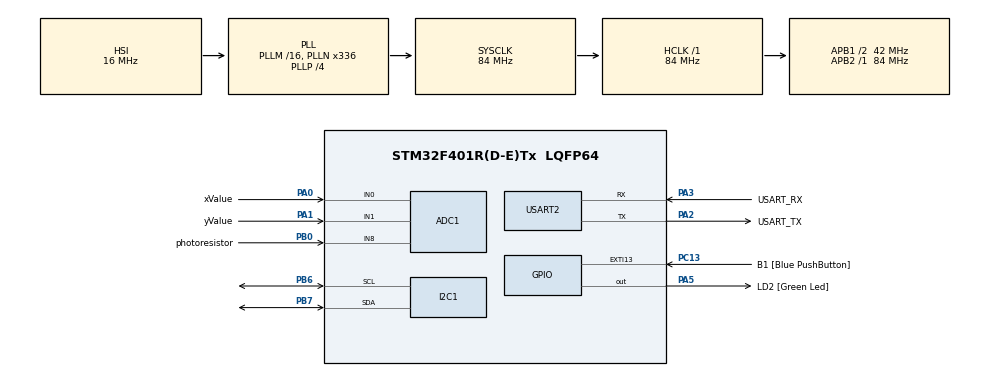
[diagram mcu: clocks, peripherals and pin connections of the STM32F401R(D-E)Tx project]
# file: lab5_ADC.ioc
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ADC1.Channel-1\#ChannelRegularConversion=ADC_CHANNEL_0
ADC1.Channel-2\#ChannelRegularConversion=ADC_CHANNEL_1
ADC1.Channel-3\#ChannelRegularConversion=ADC_CHANNEL_8
ADC1.ContinuousConvMode=ENABLE
ADC1.InjNumberOfConversion=0
ADC1.NbrOfConversion=3
ADC1.NbrOfConversionFlag=1
ADC1.Rank-1\#ChannelRegularConversion=1
ADC1.Rank-2\#ChannelRegularConversion=2
ADC1.Rank-3\#ChannelRegularConversion=3
ADC1.SamplingTime-1\#ChannelRegularConversion=ADC_SAMPLETIME_480CYCLES
ADC1.SamplingTime-2\#ChannelRegularConversion=ADC_SAMPLETIME_480CYCLES
ADC1.SamplingTime-3\#ChannelRegularConversion=ADC_SAMPLETIME_480CYCLES
ADC1.ScanConvMode=ENABLE
ADC1.master=1
Mcu.Family=STM32F4
Mcu.Name=STM32F401R(D-E)Tx
Mcu.Package=LQFP64
NVIC.ADC_IRQn=true\:0\:0\:false\:false\:true\:true\:true\:true
NVIC.PriorityGroup=NVIC_PRIORITYGROUP_0
NVIC.TIM2_IRQn=true\:0\:0\:false\:false\:true\:true\:true\:true
PA0-WKUP.GPIO_Label=xValue
PA0-WKUP.Signal=ADCx_IN0
PA1.GPIO_Label=yValue
PA1.Signal=ADCx_IN1
PA13.GPIO_Label=TMS
PA13.Mode=Serial_Wire
PA13.Signal=SYS_JTMS-SWDIO
PA14.GPIO_Label=TCK
PA14.Mode=Serial_Wire
PA14.Signal=SYS_JTCK-SWCLK
PA2.GPIO_Label=USART_TX
PA2.GPIO_Mode=GPIO_MODE_AF_PP
PA2.GPIO_PuPd=GPIO_NOPULL
PA2.GPIO_Speed=GPIO_SPEED_FREQ_LOW
PA2.Mode=Asynchronous
PA2.Signal=USART2_TX
PA3.GPIO_Label=USART_RX
PA3.GPIO_Mode=GPIO_MODE_AF_PP
PA3.GPIO_PuPd=GPIO_NOPULL
PA3.GPIO_Speed=GPIO_SPEED_FREQ_LOW
PA3.Mode=Asynchronous
PA3.Signal=USART2_RX
PA4.GPIO_Label=temperature
PA4.Signal=ADCx_IN4
PA5.GPIO_Label=LD2 [Green Led]
PA5.GPIO_Mode=GPIO_MODE_OUTPUT_PP
PA5.GPIO_PuPd=GPIO_NOPULL
PA5.GPIO_Speed=GPIO_SPEED_FREQ_LOW
PA5.Signal=GPIO_Output
PB0.GPIO_Label=photoresistor
PB0.Signal=ADCx_IN8
PB3.GPIO_Label=SWO
PB3.Signal=SYS_JTDO-SWO
PB6.Mode=I2C
PB6.Signal=I2C1_SCL
PB7.Mode=I2C
PB7.Signal=I2C1_SDA
PC13-ANTI_TAMP.GPIO_Label=B1 [Blue PushButton]
PC13-ANTI_TAMP.GPIO_ModeDefaultEXTI=GPIO_MODE_IT_FALLING
PC13-ANTI_TAMP.GPIO_PuPd=GPIO_NOPULL
PC13-ANTI_TAMP.Signal=GPXTI13
PC14-OSC32_IN.Mode=LSE-External-Oscillator
PC14-OSC32_IN.Signal=RCC_OSC32_IN
PC15-OSC32_OUT.Mode=LSE-External-Oscillator
PC15-OSC32_OUT.Signal=RCC_OSC32_OUT
PH0\ -\ OSC_IN.Mode=HSE-External-Clock-Source
PH0\ -\ OSC_IN.Signal=RCC_OSC_IN
PH1\ -\ OSC_OUT.Mode=HSE-External-Clock-Source
PH1\ -\ OSC_OUT.Signal=RCC_OSC_OUT
ProjectManager.HeapSize=0x200
ProjectManager.StackSize=0x400
ProjectManager.TargetToolchain=STM32CubeIDE
RCC.48MHZClocksFreq_Value=48000000
RCC.AHBFreq_Value=84000000
RCC.APB1CLKDivider=RCC_HCLK_DIV2
RCC.APB1Freq_Value=42000000
RCC.APB1TimFreq_Value=84000000
RCC.APB2Freq_Value=84000000
RCC.APB2TimFreq_Value=84000000
RCC.CortexFreq_Value=84000000
RCC.HCLKFreq_Value=84000000
RCC.HSE_VALUE=8000000
RCC.HSI_VALUE=16000000
RCC.PLLN=336
RCC.PLLP=RCC_PLLP_DIV4
RCC.PLLQ=7
RCC.SYSCLKFreq_VALUE=84000000
RCC.SYSCLKSource=RCC_SYSCLKSOURCE_PLLCLK
RCC.VCOOutputFreq_Value=336000000
SH.ADCx_IN0.0=ADC1_IN0,IN0
SH.ADCx_IN1.0=ADC1_IN1,IN1
SH.ADCx_IN4.0=ADC1_IN4
SH.ADCx_IN8.0=ADC1_IN8,IN8
TIM2.Period=4294967296-1
TIM2.Prescaler=84-1
USART2.VirtualMode=VM_ASYNC
VP_TIM2_VS_ClockSourceINT.Mode=Internal
board=NUCLEO-F401RE

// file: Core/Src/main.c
/* USER CODE BEGIN Header */
/**
  ******************************************************************************
  * @file           : main.c
  * @brief          : Main program body
  ******************************************************************************
  * @attention
  *
  * Copyright (c) 2024 STMicroelectronics.
  * All rights reserved.
  *
  * This software is licensed under terms that can be found in the LICENSE file
  * in the root directory of this software component.
  * If no LICENSE file comes with this software, it is provided AS-IS.
  *
  ******************************************************************************
  */
/* USER CODE END Header */
#include "main.h"

/* USER CODE BEGIN Includes */
#include "lcd.h"
#include <stdio.h>
#include <string.h>
#include <math.h>

/* USER CODE END Includes */

ADC_HandleTypeDef hadc1;

I2C_HandleTypeDef hi2c1;

TIM_HandleTypeDef htim2;

UART_HandleTypeDef huart2;

/* USER CODE BEGIN PV */

#define ADC_BUF_SIZE 3
uint16_t adc_buffer[ADC_BUF_SIZE];
int adc_buf_ix = 0;

#define JOY_X_IX 0
#define JOY_Y_IX 1
//#define LM35_IX 2
#define PHOTORES_IX 2

TextLCDType myLCD;

uint8_t callback_occured = 0;
uint16_t max_volt = 4095;

char volt[20];
//char temperature[20];
char light[20];

/* USER CODE END PV */

void SystemClock_Config(void);
static void MX_GPIO_Init(void);
static void MX_USART2_UART_Init(void);
static void MX_I2C1_Init(void);
static void MX_ADC1_Init(void);
static void MX_TIM2_Init(void);

/* USER CODE BEGIN 0 */

/*// polling function that performs analog to digital conversion (ADC)
uint16_t read_one_adc_value(ADC_HandleTypeDef *hadc)
{
	HAL_ADC_Start(hadc);						// starts the conversion process.
	HAL_ADC_PollForConversion(hadc, 100);		// polls until the conversion is complete or 100 ms have passed.
	uint32_t reading = HAL_ADC_GetValue(hadc);  // gets the converted value from the ADC's data register and stores it in reading.
	HAL_ADC_Stop(hadc);							// stops the conversion process.

	return (uint16_t) reading;					// returns the converted value.
}*/

void HAL_ADC_ConvCpltCallback(ADC_HandleTypeDef *hadc)
{
	if (hadc -> Instance == ADC1)
	{
		callback_occured = 1;

		adc_buffer[adc_buf_ix] = HAL_ADC_GetValue(hadc);
		adc_buf_ix = (adc_buf_ix + 1) % ADC_BUF_SIZE;

	}
}

// numbers from 0 to 1
float normalize_12bit(uint16_t x)
{
	float normalized = ((float)x / max_volt);

	sprintf(light, "%.2fL", normalized);		// formats the normalized value into the x_volt string

	return normalized;
}

// numbers from -1 to 1
float normalize_12bit_posneg(uint16_t x)
{
	float normalized = 2 * ((float)x / max_volt) - 1;

	sprintf(volt, "%+-.2f", normalized);

	return normalized;
}

/*
float lm35_to_celcius(uint16_t lm35_reading)
{
	//float volt = (lm35_reading * 5.0) / 4095.0;

	float celcius = lm35_reading / 0.01;

	sprintf(temperature, "%.2f C", celcius);

	return celcius;
}
*/

/* USER CODE END 0 */

int main(void)
{

  /* MCU Configuration--------------------------------------------------------*/

  /* Reset of all peripherals, Initializes the Flash interface and the Systick. */
  HAL_Init();

  /* Configure the system clock */
  SystemClock_Config();

  /* Initialize all configured peripherals */
  MX_GPIO_Init();
  MX_USART2_UART_Init();
  MX_I2C1_Init();
  MX_ADC1_Init();
  MX_TIM2_Init();

  /* Infinite loop */
  /* USER CODE BEGIN WHILE */

  TextLCD_Init(&myLCD, &hi2c1, 0x4E);

  HAL_ADC_Start_IT(&hadc1);		//startar ADC-omvandling

	/*
  	  Callback sker varje gång en ADC conversion är klar.
  	  Då ska värdet från conversion lagras i adc_buf_ix.
	  Main loopen ska uppdatera displayen när ett nytt värde finns i adc_buf_ix
	*/

  while (1)
  {

	  if (callback_occured == 1)
	  	  {

	  			/* printar ut icke normaliserat värde från adc_buffer[0]
	  		    char s[20];
	  		    sprintf(s, "X: %d", adc_buffer[0]);
	  		  	TextLCD_Home(&myLCD);
	  			TextLCD_PutStr(&myLCD, s);
	  			 */

	  			//x value
	  			normalize_12bit_posneg(adc_buffer[JOY_X_IX]);

	  			//printar det normaliserade x-värdet
	  		  	TextLCD_Home(&myLCD);
	  			TextLCD_PutStr(&myLCD, volt);

	  			//y value
	  			normalize_12bit_posneg(adc_buffer[JOY_Y_IX]);

	  			TextLCD_Position(&myLCD, 0, 1);
	  			TextLCD_PutStr(&myLCD, volt);

	  			/*
	  			//temperature
	  			lm35_to_celcius(adc_buffer[LM35_IX]);

	  			TextLCD_Position(&myLCD, 10, 0);
	  			TextLCD_PutStr(&myLCD, temperature);
	  			*/

	  			//light
	  			normalize_12bit(adc_buffer[PHOTORES_IX]);

	  			TextLCD_Position(&myLCD, 10, 1);
	  			TextLCD_PutStr(&myLCD, light);

	  			HAL_Delay(100);

	  			callback_occured = 0;
	  	  }

	  	  HAL_Delay(100);

    /* USER CODE END WHILE */

  }
}

void SystemClock_Config(void)
{
  RCC_OscInitTypeDef RCC_OscInitStruct = {0};
  RCC_ClkInitTypeDef RCC_ClkInitStruct = {0};

  /** Configure the main internal regulator output voltage
  */
  __HAL_RCC_PWR_CLK_ENABLE();
  __HAL_PWR_VOLTAGESCALING_CONFIG(PWR_REGULATOR_VOLTAGE_SCALE2);

  /** Initializes the RCC Oscillators according to the specified parameters
  * in the RCC_OscInitTypeDef structure.
  */
  RCC_OscInitStruct.OscillatorType = RCC_OSCILLATORTYPE_HSI;
  RCC_OscInitStruct.HSIState = RCC_HSI_ON;
  RCC_OscInitStruct.HSICalibrationValue = RCC_HSICALIBRATION_DEFAULT;
  RCC_OscInitStruct.PLL.PLLState = RCC_PLL_ON;
  RCC_OscInitStruct.PLL.PLLSource = RCC_PLLSOURCE_HSI;
  RCC_OscInitStruct.PLL.PLLM = 16;
  RCC_OscInitStruct.PLL.PLLN = 336;
  RCC_OscInitStruct.PLL.PLLP = RCC_PLLP_DIV4;
  RCC_OscInitStruct.PLL.PLLQ = 7;
  if (HAL_RCC_OscConfig(&RCC_OscInitStruct) != HAL_OK)
  {
    Error_Handler();
  }

  /** Initializes the CPU, AHB and APB buses clocks
  */
  RCC_ClkInitStruct.ClockType = RCC_CLOCKTYPE_HCLK|RCC_CLOCKTYPE_SYSCLK
                              |RCC_CLOCKTYPE_PCLK1|RCC_CLOCKTYPE_PCLK2;
  RCC_ClkInitStruct.SYSCLKSource = RCC_SYSCLKSOURCE_PLLCLK;
  RCC_ClkInitStruct.AHBCLKDivider = RCC_SYSCLK_DIV1;
  RCC_ClkInitStruct.APB1CLKDivider = RCC_HCLK_DIV2;
  RCC_ClkInitStruct.APB2CLKDivider = RCC_HCLK_DIV1;

  if (HAL_RCC_ClockConfig(&RCC_ClkInitStruct, FLASH_LATENCY_2) != HAL_OK)
  {
    Error_Handler();
  }
}

static void MX_ADC1_Init(void)
{

  ADC_ChannelConfTypeDef sConfig = {0};

  /** Configure the global features of the ADC (Clock, Resolution, Data Alignment and number of conversion)
  */
  hadc1.Instance = ADC1;
  hadc1.Init.ClockPrescaler = ADC_CLOCK_SYNC_PCLK_DIV4;
  hadc1.Init.Resolution = ADC_RESOLUTION_12B;
  hadc1.Init.ScanConvMode = ENABLE;
  hadc1.Init.ContinuousConvMode = ENABLE;
  hadc1.Init.DiscontinuousConvMode = DISABLE;
  hadc1.Init.ExternalTrigConvEdge = ADC_EXTERNALTRIGCONVEDGE_NONE;
  hadc1.Init.ExternalTrigConv = ADC_SOFTWARE_START;
  hadc1.Init.DataAlign = ADC_DATAALIGN_RIGHT;
  hadc1.Init.NbrOfConversion = 3;
  hadc1.Init.DMAContinuousRequests = DISABLE;
  hadc1.Init.EOCSelection = ADC_EOC_SINGLE_CONV;
  if (HAL_ADC_Init(&hadc1) != HAL_OK)
  {
    Error_Handler();
  }

  /** Configure for the selected ADC regular channel its corresponding rank in the sequencer and its sample time.
  */
  sConfig.Channel = ADC_CHANNEL_0;
  sConfig.Rank = 1;
  sConfig.SamplingTime = ADC_SAMPLETIME_480CYCLES;
  if (HAL_ADC_ConfigChannel(&hadc1, &sConfig) != HAL_OK)
  {
    Error_Handler();
  }

  /** Configure for the selected ADC regular channel its corresponding rank in the sequencer and its sample time.
  */
  sConfig.Channel = ADC_CHANNEL_1;
  sConfig.Rank = 2;
  if (HAL_ADC_ConfigChannel(&hadc1, &sConfig) != HAL_OK)
  {
    Error_Handler();
  }

  /** Configure for the selected ADC regular channel its corresponding rank in the sequencer and its sample time.
  */
  sConfig.Channel = ADC_CHANNEL_8;
  sConfig.Rank = 3;
  if (HAL_ADC_ConfigChannel(&hadc1, &sConfig) != HAL_OK)
  {
    Error_Handler();
  }

}

static void MX_I2C1_Init(void)
{

  hi2c1.Instance = I2C1;
  hi2c1.Init.ClockSpeed = 100000;
  hi2c1.Init.DutyCycle = I2C_DUTYCYCLE_2;
  hi2c1.Init.OwnAddress1 = 0;
  hi2c1.Init.AddressingMode = I2C_ADDRESSINGMODE_7BIT;
  hi2c1.Init.DualAddressMode = I2C_DUALADDRESS_DISABLE;
  hi2c1.Init.OwnAddress2 = 0;
  hi2c1.Init.GeneralCallMode = I2C_GENERALCALL_DISABLE;
  hi2c1.Init.NoStretchMode = I2C_NOSTRETCH_DISABLE;
  if (HAL_I2C_Init(&hi2c1) != HAL_OK)
  {
    Error_Handler();
  }

}

static void MX_TIM2_Init(void)
{

  TIM_ClockConfigTypeDef sClockSourceConfig = {0};
  TIM_MasterConfigTypeDef sMasterConfig = {0};

  htim2.Instance = TIM2;
  htim2.Init.Prescaler = 84-1;
  htim2.Init.CounterMode = TIM_COUNTERMODE_UP;
  htim2.Init.Period = 4294967296-1;
  htim2.Init.ClockDivision = TIM_CLOCKDIVISION_DIV1;
  htim2.Init.AutoReloadPreload = TIM_AUTORELOAD_PRELOAD_DISABLE;
  if (HAL_TIM_Base_Init(&htim2) != HAL_OK)
  {
    Error_Handler();
  }
  sClockSourceConfig.ClockSource = TIM_CLOCKSOURCE_INTERNAL;
  if (HAL_TIM_ConfigClockSource(&htim2, &sClockSourceConfig) != HAL_OK)
  {
    Error_Handler();
  }
  sMasterConfig.MasterOutputTrigger = TIM_TRGO_RESET;
  sMasterConfig.MasterSlaveMode = TIM_MASTERSLAVEMODE_DISABLE;
  if (HAL_TIMEx_MasterConfigSynchronization(&htim2, &sMasterConfig) != HAL_OK)
  {
    Error_Handler();
  }

}

static void MX_USART2_UART_Init(void)
{

  huart2.Instance = USART2;
  huart2.Init.BaudRate = 115200;
  huart2.Init.WordLength = UART_WORDLENGTH_8B;
  huart2.Init.StopBits = UART_STOPBITS_1;
  huart2.Init.Parity = UART_PARITY_NONE;
  huart2.Init.Mode = UART_MODE_TX_RX;
  huart2.Init.HwFlowCtl = UART_HWCONTROL_NONE;
  huart2.Init.OverSampling = UART_OVERSAMPLING_16;
  if (HAL_UART_Init(&huart2) != HAL_OK)
  {
    Error_Handler();
  }

}

static void MX_GPIO_Init(void)
{
  GPIO_InitTypeDef GPIO_InitStruct = {0};

  /* GPIO Ports Clock Enable */
  __HAL_RCC_GPIOC_CLK_ENABLE();
  __HAL_RCC_GPIOH_CLK_ENABLE();
  __HAL_RCC_GPIOA_CLK_ENABLE();
  __HAL_RCC_GPIOB_CLK_ENABLE();

  /*Configure GPIO pin Output Level */
  HAL_GPIO_WritePin(LD2_GPIO_Port, LD2_Pin, GPIO_PIN_RESET);

  /*Configure GPIO pin : B1_Pin */
  GPIO_InitStruct.Pin = B1_Pin;
  GPIO_InitStruct.Mode = GPIO_MODE_IT_FALLING;
  GPIO_InitStruct.Pull = GPIO_NOPULL;
  HAL_GPIO_Init(B1_GPIO_Port, &GPIO_InitStruct);

  /*Configure GPIO pin : LD2_Pin */
  GPIO_InitStruct.Pin = LD2_Pin;
  GPIO_InitStruct.Mode = GPIO_MODE_OUTPUT_PP;
  GPIO_InitStruct.Pull = GPIO_NOPULL;
  GPIO_InitStruct.Speed = GPIO_SPEED_FREQ_LOW;
  HAL_GPIO_Init(LD2_GPIO_Port, &GPIO_InitStruct);

}

void Error_Handler(void)
{
  __disable_irq();
  while (1)
  {
  }
}
